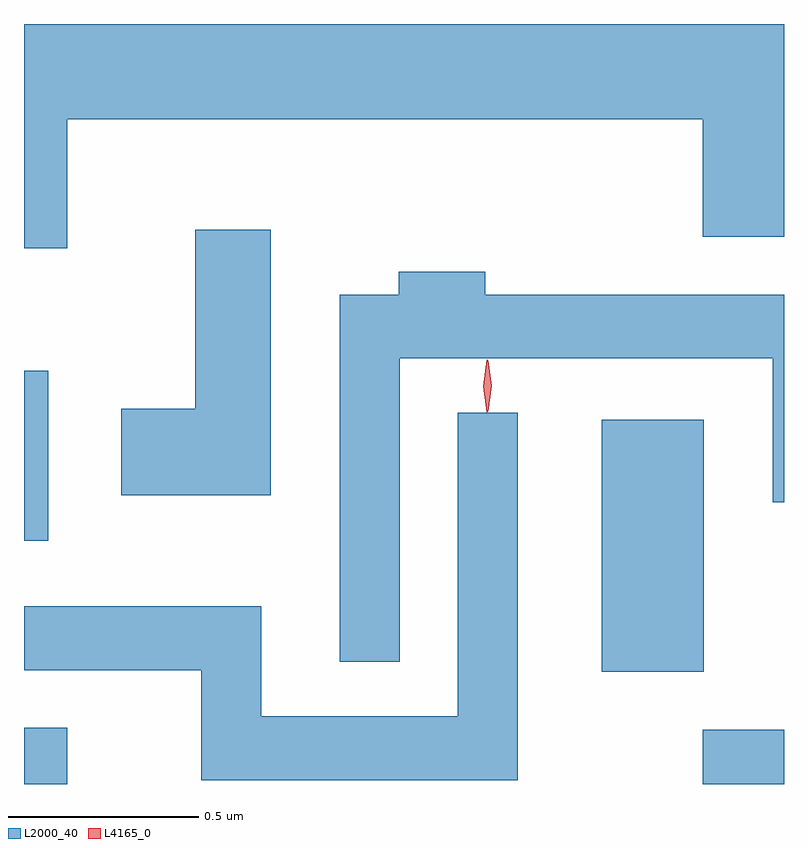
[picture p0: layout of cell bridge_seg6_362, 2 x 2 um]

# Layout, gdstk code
import gdstk
lib = gdstk.Library(unit=1e-6, precision=1e-09)
def R(c, l, rs):  # rectangles x0, y0, x1, y1
    for r in rs: c.add(gdstk.rectangle(r[:2], r[2:], *l))
def P(c, l, *ps):  # polygons
    for p in ps: c.add(gdstk.Polygon(p, *l))
L2000_40 = (2000, 40)
L4165_0 = (4165, 0)

bridge_seg6_362 = lib.new_cell('bridge_seg6_362')
R(bridge_seg6_362, L2000_40, [(1304.865,1550.506,1304.979,1550.654), (1306.651,1550.506,1306.865,1550.649), (1306.386,1550.801,1306.654,1551.464), (1304.865,1551.146,1304.929,1551.594)])
P(bridge_seg6_362, L2000_40, [(1304.979,1552.256),(1306.651,1552.256),(1306.651,1551.946),(1306.865,1551.946),(1306.865,1552.506),(1304.865,1552.506),(1304.865,1551.916),(1304.979,1551.916)],
  [(1305.514,1551.964),(1305.316,1551.964),(1305.316,1551.494),(1305.121,1551.494),(1305.121,1551.266),(1305.514,1551.266)],
  [(1305.854,1551.626),(1306.836,1551.626),(1306.836,1551.248),(1306.865,1551.248),(1306.865,1551.794),(1306.079,1551.794),(1306.079,1551.854),(1305.851,1551.854),(1305.851,1551.794),(1305.696,1551.794),(1305.696,1550.828),(1305.854,1550.828)],
  [(1306.164,1551.483),(1306.006,1551.483),(1306.006,1550.684),(1305.489,1550.684),(1305.489,1550.974),(1304.865,1550.974),(1304.865,1550.806),(1305.331,1550.806),(1305.331,1550.516),(1306.164,1550.516)])
P(bridge_seg6_362, L4165_0, [(1306.083,1551.484),(1306.074,1551.553),(1306.083,1551.623),(1306.084,1551.623),(1306.084,1551.623),(1306.094,1551.553),(1306.084,1551.484),(1306.084,1551.484)],
  [(1306.086,1551.487),(1306.086,1551.487),(1306.076,1551.554),(1306.086,1551.62),(1306.086,1551.621),(1306.087,1551.62),(1306.096,1551.554),(1306.087,1551.487)])

lib.write_gds('bridge_seg6_362.gds')
